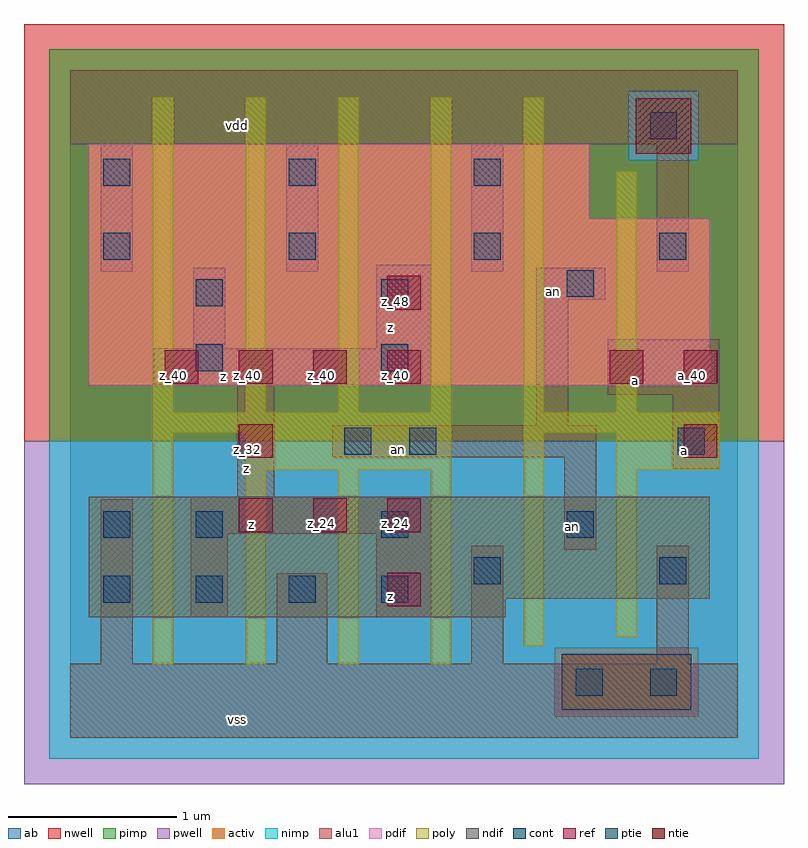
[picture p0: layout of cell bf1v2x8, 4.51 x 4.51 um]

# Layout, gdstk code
import gdstk
lib = gdstk.Library(unit=1e-6, precision=2.5e-09)
def R(c, l, rs):  # rectangles x0, y0, x1, y1
    for r in rs: c.add(gdstk.rectangle(r[:2], r[2:], *l))
def A(c, l, x, y, w, h, nx, ny, dx, dy):  # array of equal rectangles
    R(c, l, [(x+i*dx, y+j*dy, x+i*dx+w, y+j*dy+h) for i in range(nx) for j in range(ny)])
ndif = (3, 0)
pdif = (4, 0)
ntie = (5, 0)
ptie = (6, 0)
ref = (24, 0)
cont = (25, 0)
pwell = (41, 0)
nwell = (42, 0)
activ = (43, 0)
pimp = (44, 0)
nimp = (45, 0)
poly = (46, 0)
alu1 = (49, 0)
ab = (63, 0)

bf1v2x8 = lib.new_cell('bf1v2x8')
R(bf1v2x8, ndif, [(0.11,0.715,2.585,0.825), (0.11,0.825,3.795,1.43)])
R(bf1v2x8, pdif, [(0.11,2.09,3.795,3.08), (0.11,3.08,3.08,3.52)])
R(bf1v2x8, ntie, [(3.355,3.465,3.685,3.795)])
R(bf1v2x8, ptie, [(2.915,0.165,3.685,0.495)])
A(bf1v2x8, ref, 1, 1.22, 0.2, 0.2, 3, 1, 0.44, 0)
A(bf1v2x8, ref, 0.56, 2.1, 0.2, 0.2, 4, 1, 0.44, 0)
R(bf1v2x8, ref, [(1.88,0.78,2.08,0.98), (1,1.66,1.2,1.86), (3.64,1.66,3.84,1.86), (3.2,2.1,3.4,2.3), (3.64,2.1,3.84,2.3), (1.88,2.54,2.08,2.74)])
A(bf1v2x8, cont, 0.195, 0.8, 0.16, 0.16, 4, 1, 0.55, 0)
A(bf1v2x8, cont, 0.745, 1.185, 0.16, 0.16, 3, 1, 1.1, 0)
A(bf1v2x8, cont, 0.195, 2.835, 0.16, 0.16, 4, 1, 1.1, 0)
A(bf1v2x8, cont, 0.195, 3.275, 0.16, 0.16, 3, 1, 1.1, 0)
R(bf1v2x8, cont, [(3,0.25,3.16,0.41), (3.44,0.25,3.6,0.41), (2.395,0.91,2.555,1.07), (3.495,0.91,3.655,1.07), (0.195,1.185,0.355,1.345), (1.625,1.68,1.785,1.84), (2.01,1.68,2.17,1.84), (3.605,1.68,3.765,1.84), (0.745,2.175,0.905,2.335), (1.845,2.175,2.005,2.335), (0.745,2.56,0.905,2.72), (1.845,2.56,2.005,2.72), (2.945,2.615,3.105,2.775), (3.44,3.55,3.6,3.71)])
R(bf1v2x8, pwell, [(-0.275,-0.275,4.235,1.76)])
R(bf1v2x8, nwell, [(-0.275,1.76,4.235,4.235)])
R(bf1v2x8, activ, [(2.915,0.165,3.685,0.495), (0.11,0.715,2.585,0.825), (0.11,0.825,3.795,1.43), (0.11,2.09,3.795,3.08), (0.11,3.08,3.08,3.52), (3.355,3.465,3.685,3.795)])
R(bf1v2x8, pimp, [(2.875,0.125,3.725,0.535), (-0.125,1.76,4.085,3.425), (-0.125,3.425,3.315,3.835), (3.725,3.425,4.085,3.835), (-0.125,3.835,4.085,4.085)])
R(bf1v2x8, nimp, [(-0.125,-0.125,4.085,0.125), (-0.125,0.125,2.875,0.535), (3.725,0.125,4.085,0.535), (-0.125,0.535,4.085,1.76), (3.315,3.425,3.725,3.835)])
A(bf1v2x8, poly, 1.04, 0.435, 0.12, 1.155, 3, 1, 0.55, 0)
A(bf1v2x8, poly, 0.49, 1.93, 0.12, 1.87, 5, 1, 0.55, 0)
R(bf1v2x8, poly, [(0.49,0.435,0.61,1.81), (2.69,0.545,2.81,1.81), (3.24,0.6,3.36,1.59), (1.04,1.59,2.26,1.81), (3.24,1.59,3.855,1.81), (0.49,1.81,2.26,1.93), (2.69,1.81,3.855,1.93), (3.24,1.93,3.36,3.36)])
A(bf1v2x8, alu1, 0.18, 2.765, 0.19, 0.755, 4, 1, 1.1, 0)
R(bf1v2x8, alu1, [(0,0,3.96,0.44), (0.18,0.44,0.37,1.415), (1.225,0.44,1.525,0.975), (2.38,0.44,2.57,1.14), (3.48,0.44,3.67,1.14), (0.715,0.715,0.935,1.21), (1.815,0.715,2.145,1.21), (2.93,1.115,3.12,1.665), (0.715,1.21,2.145,1.43), (0.99,1.43,1.21,2.09), (3.575,1.595,3.85,2.035), (1.555,1.665,3.12,1.855), (2.765,1.855,2.955,2.6), (3.19,2.035,3.85,2.365), (0.495,2.09,2.145,2.31), (0.73,2.31,0.92,2.79), (1.815,2.31,2.145,2.805), (2.765,2.6,3.175,2.79), (0,3.52,3.96,3.96)])
R(bf1v2x8, ab, [(0,0,3.96,3.96)])
bf1v2x8.add(gdstk.Label('vss', (0.99,0.11), layer=49, texttype=0))
bf1v2x8.add(gdstk.Label('a', (3.6425,1.705), layer=49, texttype=0))
bf1v2x8.add(gdstk.Label('an', (2.9775,1.2525), layer=49, texttype=0))
bf1v2x8.add(gdstk.Label('z', (1.8975,0.8375), layer=49, texttype=0))
bf1v2x8.add(gdstk.Label('z', (1.0725,1.265), layer=49, texttype=0))
bf1v2x8.add(gdstk.Label('an', (1.945,1.7125), layer=49, texttype=0))
bf1v2x8.add(gdstk.Label('a', (3.355,2.1175), layer=49, texttype=0))
bf1v2x8.add(gdstk.Label('z', (1.045,1.595), layer=49, texttype=0))
bf1v2x8.add(gdstk.Label('an', (2.8675,2.6475), layer=49, texttype=0))
bf1v2x8.add(gdstk.Label('z', (0.9075,2.145), layer=49, texttype=0))
bf1v2x8.add(gdstk.Label('z', (1.8975,2.4325), layer=49, texttype=0))
bf1v2x8.add(gdstk.Label('vdd', (0.99,3.63), layer=49, texttype=0))
bf1v2x8.add(gdstk.Label('z_40', (0.61,2.15), layer=24, texttype=0))
bf1v2x8.add(gdstk.Label('z_24', (1.05,1.27), layer=24, texttype=0))
bf1v2x8.add(gdstk.Label('z_32', (1.05,1.71), layer=24, texttype=0))
bf1v2x8.add(gdstk.Label('z_40', (1.05,2.15), layer=24, texttype=0))
bf1v2x8.add(gdstk.Label('z_24', (1.49,1.27), layer=24, texttype=0))
bf1v2x8.add(gdstk.Label('z_40', (1.49,2.15), layer=24, texttype=0))
bf1v2x8.add(gdstk.Label('z_16', (1.93,0.83), layer=24, texttype=0))
bf1v2x8.add(gdstk.Label('z_24', (1.93,1.27), layer=24, texttype=0))
bf1v2x8.add(gdstk.Label('z_40', (1.93,2.15), layer=24, texttype=0))
bf1v2x8.add(gdstk.Label('z_48', (1.93,2.59), layer=24, texttype=0))
bf1v2x8.add(gdstk.Label('a_40', (3.25,2.15), layer=24, texttype=0))
bf1v2x8.add(gdstk.Label('a_32', (3.69,1.71), layer=24, texttype=0))
bf1v2x8.add(gdstk.Label('a_40', (3.69,2.15), layer=24, texttype=0))

lib.write_gds('bf1v2x8.gds')
